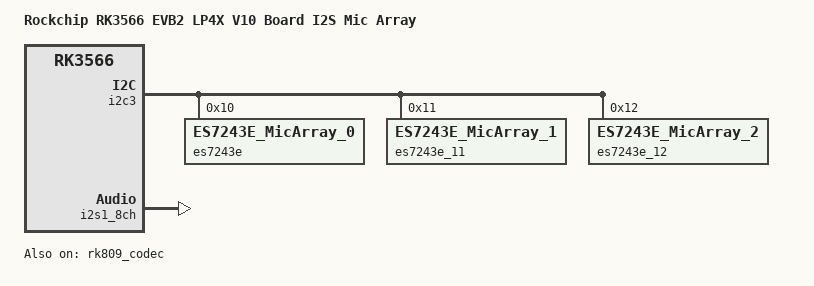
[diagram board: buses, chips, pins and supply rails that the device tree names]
// SPDX-License-Identifier: (GPL-2.0+ OR MIT)
/*
 * Copyright (c) 2020 Rockchip Electronics Co., Ltd.
 *
 */

#include "rk3566-evb2-lp4x-v10.dtsi"
#include "rk3568-android.dtsi"

/ {
	model = "Rockchip RK3566 EVB2 LP4X V10 Board I2S Mic Array";
	compatible = "rockchip,rk3566-evb2-lp4x-v10", "rockchip,rk3566";

	rk809_sound_micarray: rk809-sound-micarray {
		compatible = "simple-audio-card";
		simple-audio-card,format = "i2s";
		simple-audio-card,name = "rockchip,rk809-codec";
		simple-audio-card,mclk-fs = <256>;

		simple-audio-card,dai-link@0 {
			format = "i2s";
			cpu {
				sound-dai = <&i2s1_8ch>;
			};
			codec {
				sound-dai = <&rk809_codec 0>;
			};
		};
		simple-audio-card,dai-link@1 {
			format = "i2s";
			cpu {
				sound-dai = <&i2s1_8ch>;
			};
			codec {
				sound-dai = <&es7243e>;
			};
		};
	};
};

&i2c3 {
	status = "okay";

	es7243e: es7243e@10 {
		status = "okay";
		#sound-dai-cells = <0>;
		compatible = "ES7243E_MicArray_0";
		reg = <0x10>;
	};

	es7243e_11: es7243e@11 {
		status = "okay";
		#sound-dai-cells = <0>;
		compatible = "ES7243E_MicArray_1";
		reg = <0x11>;
	};

	es7243e_12: es7243e@12 {
		status = "okay";
		#sound-dai-cells = <0>;
		compatible = "ES7243E_MicArray_2";
		reg = <0x12>;
	};
};

&i2s1_8ch {
	status = "okay";
	#sound-dai-cells = <0>;
	rockchip,clk-trcm = <0>;
	pinctrl-names = "default";
	pinctrl-0 = <&i2s1m0_sclktx
		     &i2s1m0_lrcktx
		     &i2s1m0_sclkrx
		     &i2s1m0_lrckrx
		     &i2s1m0_sdo0
		     &i2s1m0_sdi0
		     &i2s1m0_sdi1
		     &i2s1m0_sdi2
		     &i2s1m0_sdi3>;
};

&rk809_codec {
	#sound-dai-cells = <1>;
	compatible = "rockchip,rk809-codec", "rockchip,rk817-codec";
	clocks = <&cru I2S1_MCLKOUT>;
	clock-names = "mclk";
	assigned-clocks = <&cru I2S1_MCLKOUT>, <&cru I2S1_MCLK_TX_IOE>;
	assigned-clock-rates = <12288000>;
	assigned-clock-parents = <&cru I2S1_MCLKOUT_TX>, <&cru I2S1_MCLKOUT_TX>;
	pinctrl-names = "default";
	pinctrl-0 = <&i2s1m0_mclk>;
	pdmdata-out-enable;
	adc-for-loopback;
	hp-volume = <20>;
	spk-volume = <3>;
	mic-in-differential;
	status = "okay";
};

&rk809_sound {
	status = "disabled";
};
